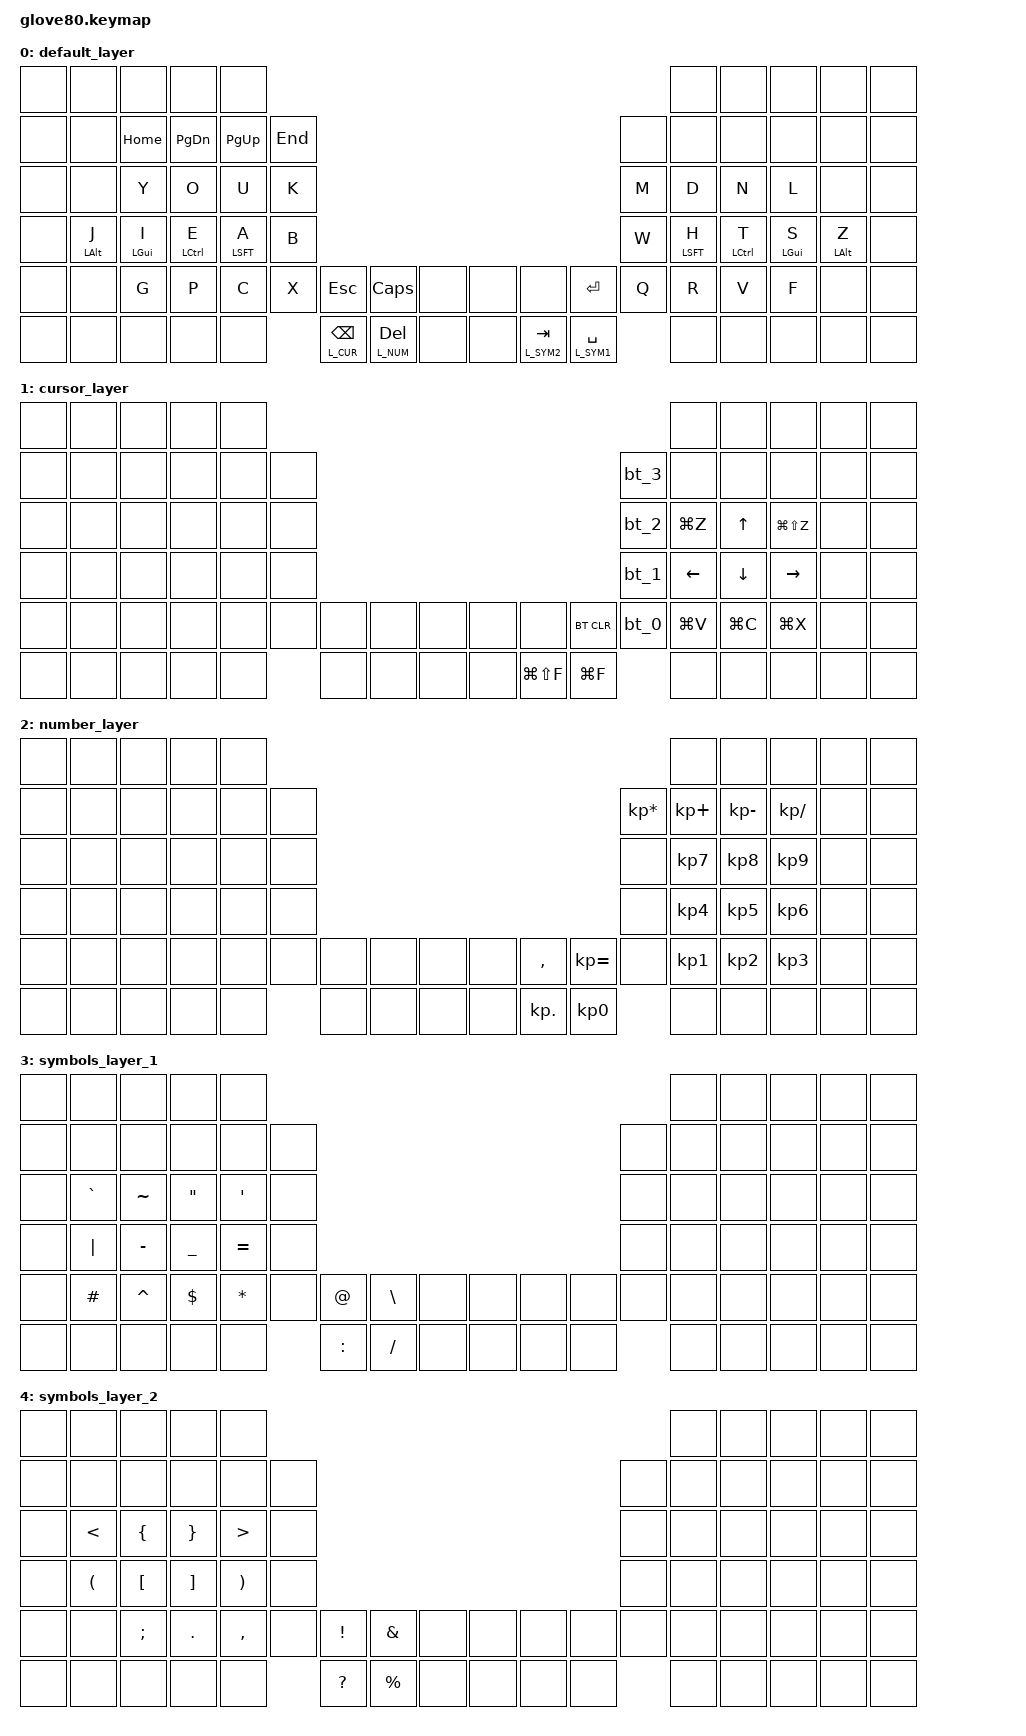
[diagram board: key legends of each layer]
/*
 * Copyright (c) 2020 The ZMK Contributors
 *
 * SPDX-License-Identifier: MIT
 */

#include <behaviors.dtsi>
#include <dt-bindings/zmk/keys.h>
#include <dt-bindings/zmk/bt.h>
#include <dt-bindings/zmk/ext_power.h>
#include <dt-bindings/zmk/outputs.h>
#include <dt-bindings/zmk/rgb.h>

#define HYPER LC(LS(LG(LALT)))

// layers
#define L_DEF 0
#define L_CUR 1
#define L_NUM 2
#define L_SYM1 3
#define L_SYM2 4

//
// Glove80 key positions index for home row mods
//
// |------------------------|------------------------|
// | LEFT_HAND_KEYS         |        RIGHT_HAND_KEYS |
// |                        |                        |
// |  0  1  2  3  4         |          5  6  7  8  9 |
// | 10 11 12 13 14 15      |      16 17 18 19 20 21 |
// | 22 23 24 25 26 27      |      28 29 30 31 32 33 |
// | 34 35 36 37 38 39      |      40 41 42 43 44 45 |
// | 46 47 48 49 50 51      |      58 59 60 61 62 63 |
// | 64 65 66 67 68         |         75 76 77 78 79 |
// |                69 52   |   57 74                |
// |                 70 53  |  56 73                 |
// |                  71 54 | 55 72                  |
// |------------------------|------------------------|
//
#define LEFT_HAND_KEYS      \
      0  1  2  3  4         \
     10 11 12 13 14 15      \
     22 23 24 25 26 27      \
     34 35 36 37 38 39      \
     46 47 48 49 50 51      \
     64 65 66 67 68
#define RIGHT_HAND_KEYS     \
                                       5  6  7  8  9 \
                                   16 17 18 19 20 21 \
                                   28 29 30 31 32 33 \
                                   40 41 42 43 44 45 \
                                   58 59 60 61 62 63 \
                                      75 76 77 78 79
#define THUMB_KEYS          \
                    69 52       57 74                \
                     70 53     56 73                 \
                      71 54   55 72

/ {
    behaviors {
        lm: layer_mod {
            compatible = "zmk,behavior-hold-tap";
            flavor = "tap-preferred";
            tapping-term-ms = <200>;
            quick-tap-ms = <300>;
            #binding-cells = <2>;
            bindings = <&mo>, <&kp>;
        };
        hmr: homerow_mod_right {
            compatible = "zmk,behavior-hold-tap";
            flavor = "balanced";
            tapping-term-ms = <280>;
            quick-tap-ms = <175>;
            require-prior-idle-ms = <150>;
            hold-trigger-key-positions = <LEFT_HAND_KEYS THUMB_KEYS>;
            hold-trigger-on-release;
            #binding-cells = <2>;
            bindings = <&kp>, <&kp>;
        };
        hml: homerow_mod_left {
            compatible = "zmk,behavior-hold-tap";
            flavor = "balanced";
            tapping-term-ms = <280>;
            quick-tap-ms = <175>;
            require-prior-idle-ms = <150>;
            hold-trigger-key-positions = <RIGHT_HAND_KEYS THUMB_KEYS>;
            hold-trigger-on-release;
            #binding-cells = <2>;
            bindings = <&kp>, <&kp>;
        };
    };

    macros {
        rgb_ug_status_macro: rgb_ug_status_macro_0 {
            label = "RGB_UG_STATUS";
            compatible = "zmk,behavior-macro";
            #binding-cells = <0>;
            bindings
                = <&rgb_ug RGB_STATUS>;
        };

        bt_0: bt_profile_macro_0 {
            label = "BT_0";
            compatible = "zmk,behavior-macro";
            #binding-cells = <0>;
            bindings
                = <&out OUT_BLE>,
                  <&bt BT_SEL 0>;
        };

        bt_1: bt_profile_macro_1 {
            label = "BT_1";
            compatible = "zmk,behavior-macro";
            #binding-cells = <0>;
            bindings
                = <&out OUT_BLE>,
                  <&bt BT_SEL 1>;
        };

        bt_2: bt_profile_macro_2 {
            label = "BT_2";
            compatible = "zmk,behavior-macro";
            #binding-cells = <0>;
            bindings
                = <&out OUT_BLE>,
                  <&bt BT_SEL 2>;
        };

        bt_3: bt_profile_macro_3 {
            label = "BT_3";
            compatible = "zmk,behavior-macro";
            #binding-cells = <0>;
            bindings
                = <&out OUT_BLE>,
                  <&bt BT_SEL 3>;
        };
    };

    keymap {
        compatible = "zmk,keymap";

        default_layer {
            bindings = <
            &none   &none        &none        &none        &none                                                                                                                &none        &none        &none        &none        &none 
            &none   &none        &kp HOME     &kp PG_DN    &kp PG_UP    &kp END                                                                                       &none     &none        &none        &none        &none        &none
            &none   &none        &kp Y        &kp O        &kp U        &kp K                                                                                         &kp M     &kp D        &kp N        &kp L        &none        &none
            &none   &hml LALT J  &hml LGUI I  &hml LCTL E  &hml LSFT A  &kp B                                                                                         &kp W     &hmr LSFT H  &hmr LCTL T  &hmr LGUI S  &hmr LALT Z  &none
            &none   &none        &kp G        &kp P        &kp C        &kp X      &kp ESC         &kp CAPS       &none   &none     &none           &kp RET           &kp Q     &kp R        &kp V        &kp F        &none        &none
            &none   &none        &none        &none        &none                   &lm L_CUR BSPC  &lm L_NUM DEL  &none   &none     &lm L_SYM2 TAB  &lm L_SYM1 SPACE            &none        &none        &none        &none        &none
            >;
        };
        cursor_layer {
            bindings = <
            &none  &none  &none  &none  &none                                                                        &none      &none      &none          &none    &none
            &none  &none  &none  &none  &none  &none                                                          &bt_3  &none      &none      &none          &none    &none
            &none  &none  &none  &none  &none  &none                                                          &bt_2  &kp LG(Z)  &kp UP     &kp LG(LS(Z))  &none    &none
            &none  &none  &none  &none  &none  &none                                                          &bt_1  &kp LEFT   &kp DOWN   &kp RIGHT      &none    &none
            &none  &none  &none  &none  &none  &none  &none  &none  &none   &none  &none          &bt BT_CLR  &bt_0  &kp LG(V)  &kp LG(C)  &kp LG(X)      &none    &none
            &none  &none  &none  &none  &none         &none  &none  &none   &none  &kp LG(LS(F))  &kp LG(F)          &none      &none      &none          &none    &none
            >;
        };
        number_layer {
            bindings = <
            &none  &none  &none  &none  &none                                                                                 &none        &none         &none          &none  &none
            &none  &none  &none  &none  &none  &none                                                         &kp KP_MULTIPLY  &kp KP_PLUS  &kp KP_MINUS  &kp KP_DIVIDE  &none  &none
            &none  &none  &none  &none  &none  &none                                                         &none            &kp KP_N7    &kp KP_N8     &kp KP_N9      &none  &none
            &none  &none  &none  &none  &none  &none                                                         &none            &kp KP_N4    &kp KP_N5     &kp KP_N6      &none  &none
            &none  &none  &none  &none  &none  &none  &none  &none  &none   &none  &kp COMMA   &kp KP_EQUAL  &none            &kp KP_N1    &kp KP_N2     &kp KP_N3      &none  &none
            &none  &none  &none  &none  &none         &none  &none  &none   &none  &kp KP_DOT  &kp KP_N0                      &none        &none         &none          &none  &none
            >;
        };
        symbols_layer_1 {
            bindings = <
            &none      &none       &none      &none      &none                                                                     &none  &none  &none  &none  &none
            &none      &none       &none      &none      &none      &none                                                   &none  &none  &none  &none  &none  &none
            &none      &kp GRAVE   &kp TILDE  &kp DQT    &kp APOS   &none                                                   &none  &none  &none  &none  &none  &none
            &none      &kp PIPE    &kp MINUS  &kp UNDER  &kp EQUAL  &none                                                   &none  &none  &none  &none  &none  &none
            &none      &kp HASH    &kp CARET  &kp DLLR   &kp STAR   &none  &kp AT     &kp BSLH  &none  &none  &none  &none  &none  &none  &none  &none  &none  &none
            &none      &none       &none      &none      &none             &kp COLON  &kp FSLH  &none  &none  &none  &none         &none  &none  &none  &none  &none
            >;
        };
        symbols_layer_2 {
            bindings = <
            &none      &none     &none      &none      &none                                                                      &none  &none  &none  &none  &none
            &none      &none     &none      &none      &none      &none                                                    &none  &none  &none  &none  &none  &none
            &none      &kp LT    &kp LBRC   &kp RBRC   &kp GT     &none                                                    &none  &none  &none  &none  &none  &none
            &none      &kp LPAR  &kp LBKT   &kp RBKT   &kp RPAR   &none                                                    &none  &none  &none  &none  &none  &none
            &none      &none     &kp SEMI   &kp DOT    &kp COMMA  &none  &kp EXCL   &kp AMPS   &none  &none  &none  &none  &none  &none  &none  &none  &none  &none
            &none      &none     &none      &none      &none             &kp QMARK  &kp PRCNT  &none  &none  &none  &none         &none  &none  &none  &none  &none
            >;
        };
    };
};
